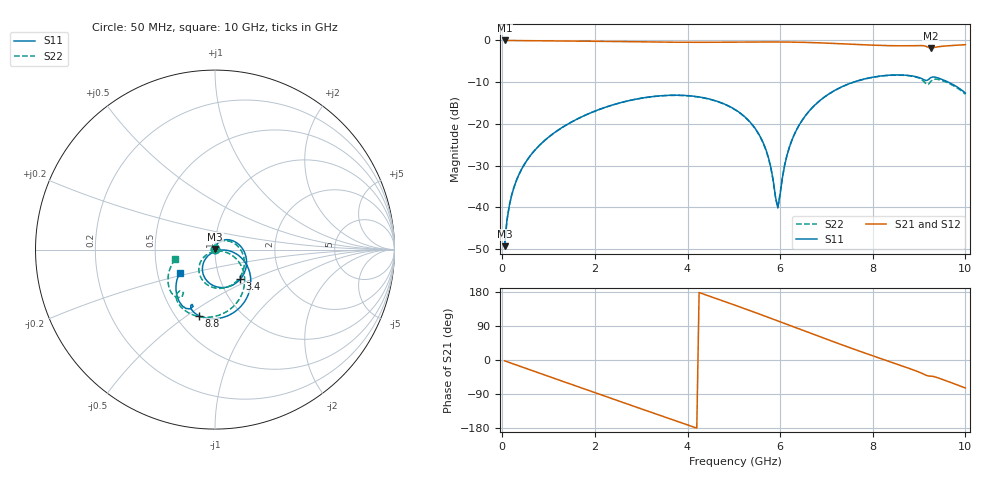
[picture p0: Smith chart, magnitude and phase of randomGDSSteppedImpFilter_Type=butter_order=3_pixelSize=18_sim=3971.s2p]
! freq	dB(S11)	phase(S11)	dB(S12)	phase(S12)
!  dB(S21)	phase(S21)	dB(S22)	phase(S22)
!S-par simulation data
#  GHz  S  DB  R 50
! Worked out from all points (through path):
!   200 points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, 50 MHz to 10 GHz, reference 50 ohm
!   highest |S21| = 0.00 dB at 50 MHz (marker M1); lowest = -1.8 dB at 9.25 GHz (marker M2)
!   group delay of S21, straight-line fit = 121 ps
!   lowest |S11| = -49.3 dB at 50 MHz (marker M3), VSWR 1.01, Z = 50 + j0.339 ohm
!   |S11| at or under -10 dB: start of sweep to 7.582 GHz; 9.632 GHz to end of sweep
!   |S22| runs from -49.1 to -8.3 dB; largest |S21 - S12| = 0
!   S11 on the Smith chart (normalised r, x): 50 MHz: 1.00, +0.01; 3.4 GHz: 1.24, -0.43; 8.8 GHz: 0.65, -0.56; 10 GHz: 0.65, -0.18
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0.05  -49.31 81.6  -0.00 -2.2  -0.00 -2.2  -49.10 79.7
0.1  -43.16 81.8  -0.01 -4.4  -0.01 -4.4  -43.14 81.1
0.2  -37.19 79.4  -0.02 -8.7  -0.02 -8.7  -37.19 78.4
0.45  -30.20 70.8  -0.03 -19.5  -0.03 -19.5  -30.20 68.4
0.95  -23.63 51.3  -0.07 -41.0  -0.07 -41.0  -23.64 46.6
1.75  -18.12 18.7  -0.15 -75.5  -0.15 -75.5  -18.14 11.2
2.55  -14.92 -14.5  -0.27 -109.7  -0.27 -109.7  -14.95 -23.7
3.4  -13.28 -49.9  -0.39 -145.9  -0.39 -145.9  -13.31 -59.9
4.25  -13.54 -85.1  -0.45 178.1  -0.45 178.1  -13.59 -95.4
5.05  -16.73 -117.8  -0.40 143.5  -0.40 143.5  -16.78 -128.2
5.4  -20.20 -131.1  -0.37 128.0  -0.37 128.0  -20.27 -141.5
5.65  -24.96 -138.0  -0.36 116.8  -0.36 116.8  -25.05 -148.4
5.8  -30.50 -135.7  -0.36 110.0  -0.36 110.0  -30.64 -145.9
5.95  -40.12 -67.1  -0.36 103.2  -0.36 103.2  -40.06 -75.3
6.1  -29.78 -4.8  -0.38 96.3  -0.38 96.3  -29.70 -15.4
6.2  -25.58 -2.6  -0.39 91.7  -0.39 91.7  -25.54 -13.3
6.7  -16.03 -18.2  -0.52 68.7  -0.52 68.7  -16.05 -29.0
7.5  -10.33 -51.5  -0.89 32.7  -0.89 32.7  -10.36 -62.8
8.35  -8.33 -86.0  -1.25 -3.7  -1.25 -3.7  -8.38 -98.5
8.8  -8.43 -103.7  -1.27 -22.8  -1.27 -22.8  -8.49 -117.8
9.25  -8.92 -112.6  -1.83 -42.6  -1.83 -42.6  -9.85 -124.8
10  -12.62 -146.6  -1.02 -73.9  -1.02 -73.9  -12.90 -166.5
